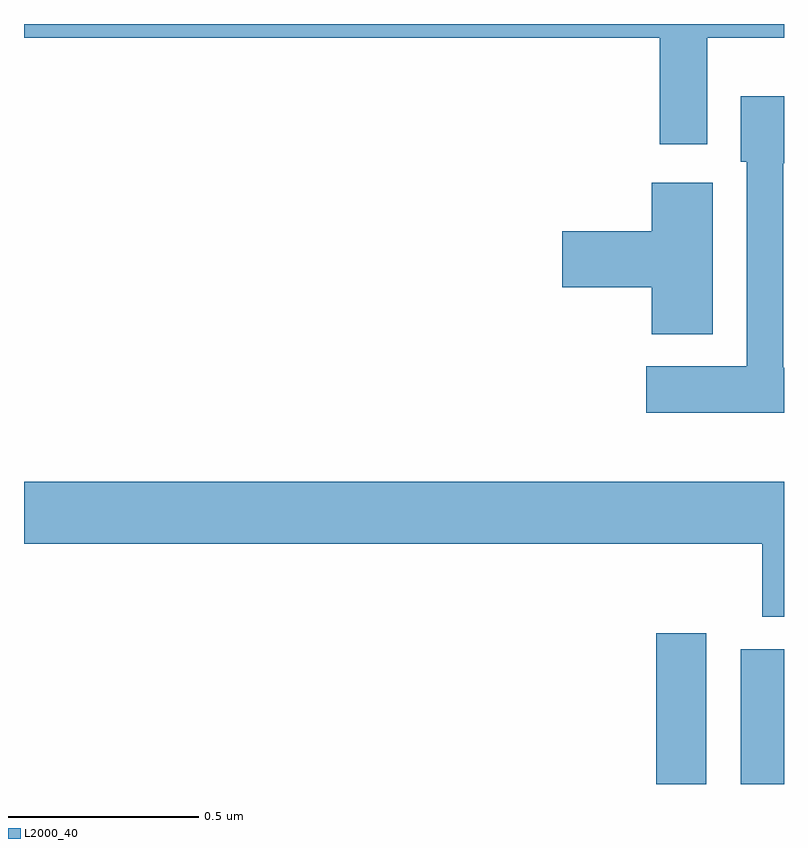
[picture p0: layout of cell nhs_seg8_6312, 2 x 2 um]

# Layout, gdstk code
import gdstk
lib = gdstk.Library(unit=1e-6, precision=1e-09)
def R(c, l, rs):  # rectangles x0, y0, x1, y1
    for r in rs: c.add(gdstk.rectangle(r[:2], r[2:], *l))
def P(c, l, *ps):  # polygons
    for p in ps: c.add(gdstk.Polygon(p, *l))
L2000_40 = (2000, 40)

nhs_seg8_6312 = lib.new_cell('nhs_seg8_6312')
R(nhs_seg8_6312, L2000_40, [(196.664,1083.9,196.795,1084.297), (196.886,1083.9,197,1084.255)])
P(nhs_seg8_6312, L2000_40, [(196.798,1085.864),(197,1085.864),(197,1085.9),(195,1085.9),(195,1085.864),(196.673,1085.864),(196.673,1085.583),(196.798,1085.583)],
  [(197,1084.995),(196.998,1084.995),(196.998,1085.534),(197,1085.534),(197,1085.71),(196.886,1085.71),(196.886,1085.538),(196.902,1085.538),(196.902,1084.999),(196.638,1084.999),(196.638,1084.877),(197,1084.877)],
  [(196.813,1085.482),(196.652,1085.482),(196.652,1085.354),(196.416,1085.354),(196.416,1085.207),(196.652,1085.207),(196.652,1085.084),(196.813,1085.084)],
  [(197,1084.696),(195,1084.696),(195,1084.532),(196.943,1084.532),(196.943,1084.34),(197,1084.34)])

lib.write_gds('nhs_seg8_6312.gds')
